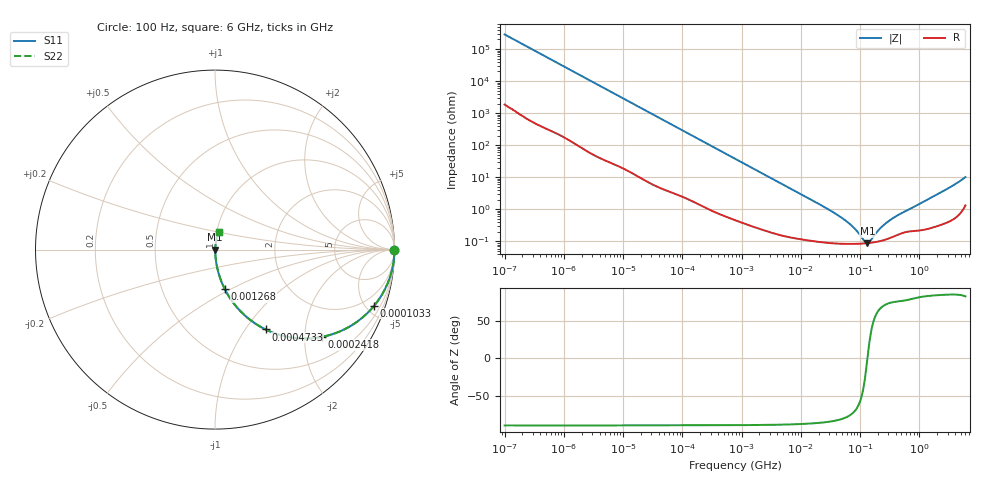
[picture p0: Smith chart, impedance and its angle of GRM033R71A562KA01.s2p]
!Murata Part Number: GRM033R71A562KA01
!These Parameters are Measured in Series Mode Connection
!Data Generated on Mar 30, 2021
!  o--ll--o
!Port1  Port2
!  o------o
!Operation Temp=25[degC], DC Bias Voltage=0[V]
!Freq. Start=100[Hz] Stop=6[GHz] 401[Steps]
# Hz S RI R 50
!Freq.(Hz) S11(Real) S11(Imag) S21(Real) S21(Imag) S12(Real) S12(Imag) S22(Real) S22(Imag)
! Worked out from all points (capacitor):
!   401 points, 100 Hz to 6 GHz, reference 50 ohm
!   read as one part in series: C = 5.57 nF near 109 Hz
!   lowest |Z| = 88.2 mohm at 133.4 MHz (marker M1)
!   series resonance near 133.3 MHz, so ESL is about 260 pH
!   S11 on the Smith chart (normalised r, x): 100 Hz: open; 103.3 kHz: 1.05, -5.67; 241.8 kHz: 1.02, -2.43; 473.3 kHz: 1.01, -1.25; 1.268 MHz: 1.01, -0.47; 6 GHz: 1.03, +0.20
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100  1 -0.000351  2.4e-06 0.000351  2.4e-06 0.000351  1 -0.000351
2008  0.9999 -0.00696  8.79e-05 0.00696  8.79e-05 0.00696  0.9999 -0.00696
12592  0.9978 -0.0433  0.00216 0.0433  0.00216 0.0433  0.9978 -0.0433
40335  0.9804 -0.1355  0.0196 0.1355  0.0196 0.1355  0.9804 -0.1355
103284  0.8873 -0.312  0.1127 0.312  0.1127 0.312  0.8873 -0.312
154540  0.7809 -0.4092  0.2191 0.4092  0.2191 0.4092  0.7809 -0.4092
241822  0.596 -0.4861  0.404 0.4861  0.404 0.4861  0.596 -0.4861
330837  0.443 -0.4919  0.557 0.4919  0.557 0.4919  0.443 -0.4919
473344  0.2822 -0.4449  0.7178 0.4449  0.7178 0.4449  0.2822 -0.4449
774597  0.1305 -0.3309  0.8695 0.3309  0.8695 0.3309  0.1305 -0.3309
1267578  0.0549 -0.2208  0.9451 0.2208  0.9451 0.2208  0.0549 -0.2208
3549919  0.00878 -0.0834  0.9912 0.0834  0.9912 0.0834  0.00878 -0.0834
1.555665e7  0.0014 -0.0192  0.9986 0.0192  0.9986 0.0192  0.0014 -0.0192
5.699437e7  0.000855 -0.00437  0.9991 0.00437  0.9991 0.00437  0.000855 -0.00437
8.154455e7  0.000842 -0.00234  0.9992 0.00234  0.9992 0.00234  0.000842 -0.00234
1.220122e8  0.000868 -0.000404  0.9991 0.000404  0.9991 0.000404  0.000868 -0.000404
1.334425e8  0.000881 6e-06  0.9991 -6e-06  0.9991 -6e-06  0.000881 6e-06
1.526266e8  0.000906 0.00062  0.9991 -0.00062  0.9991 -0.00062  0.000906 0.00062
2.183701e8  0.00103 0.00233  0.999 -0.00233  0.999 -0.00233  0.00103 0.00233
3.124326e8  0.00127 0.00427  0.9987 -0.00427  0.9987 -0.00427  0.00127 0.00427
2.142435e9  0.00406 0.0309  0.9959 -0.0309  0.9959 -0.0309  0.00406 0.0309
6e9  0.0227 0.0974  0.9773 -0.0974  0.9773 -0.0974  0.0227 0.0974
